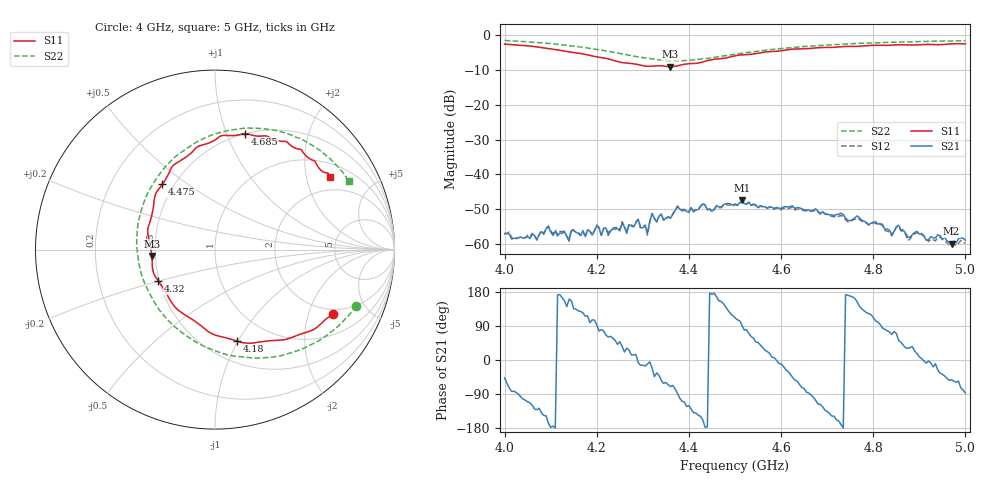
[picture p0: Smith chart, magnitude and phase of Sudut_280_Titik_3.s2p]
# Hz S RI R 50
! CMT, C1220, 16058040, 17.2.0/1
! Date: 15/08/2018 12:41:28
! Data: Format (Calibration Info)
! Freq  S11: Re/Im (F2)  S21: Re/Im (F2)  S12: Re/Im (F2)  S22: Re/Im (F2)
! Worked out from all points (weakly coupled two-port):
!   201 points, 4 GHz to 5 GHz, reference 50 ohm
!   highest |S21| = -47.49 dB at 4.515 GHz (marker M1); lowest = -60.0 dB at 4.97 GHz (marker M2)
!   lowest |S11| = -9.0 dB at 4.36 GHz (marker M3), VSWR 2.10, Z = 23.9 - j1.95 ohm
!   |S11| at or under -10 dB: nowhere
!   |S22| runs from -7.3 to -1.4 dB; largest |S21 - S12| = 0.00023
!   S11 on the Smith chart (normalised r, x): 4 GHz: 1.77, -2.92; 4.18 GHz: 0.70, -0.99; 4.32 GHz: 0.49, -0.20; 4.475 GHz: 0.43, +0.40; 4.685 GHz: 0.50, +1.16; 5 GHz: 1.46, +2.76
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4e9  0.6585 -0.36  0.000942 -0.00102  0.00102 -0.00101  0.7868 -0.3122
4.07e9  0.503 -0.4623  -0.000761 -0.000871  -0.000688 -0.00089  0.6424 -0.4625
4.095e9  0.4224 -0.4915  -0.00171 -0.0004  -0.00175 -0.00046  0.5734 -0.5103
4.14e9  0.2681 -0.5122  -0.00102 0.00036  -0.0011 0.00044  0.4224 -0.5751
4.17e9  0.1565 -0.5189  -0.000868 0.00126  -0.000859 0.00127  0.3068 -0.6001
4.18e9  0.1234 -0.5103  -0.000711 0.00141  -0.000782 0.00139  0.2645 -0.6029
4.255e9  -0.135 -0.3835  0.00159 0.00118  0.00167 0.00123  -0.0609 -0.5385
4.265e9  -0.175 -0.3587  0.00121 0.000729  0.00123 0.000785  -0.1031 -0.5171
4.29e9  -0.2429 -0.2917  0.00222 -0.000259  0.00224 -0.000227  -0.2048 -0.4457
4.31e9  -0.2889 -0.2137  0.0014 -0.000264  0.00129 -0.000309  -0.2758 -0.3771
4.32e9  -0.3152 -0.1765  0.0025 -0.000933  0.00255 -0.00104  -0.3086 -0.3379
4.335e9  -0.3436 -0.1278  0.00189 -0.0016  0.00187 -0.00161  -0.3489 -0.273
4.36e9  -0.352 -0.0357  0.000792 -0.0022  0.000785 -0.00219  -0.4039 -0.1573
4.375e9  -0.363 0.0337  0.00014 -0.00341  0.000114 -0.0035  -0.4228 -0.0828
4.475e9  -0.2937 0.3643  -0.00312 0.00191  -0.003 0.00193  -0.3411 0.3722
4.5e9  -0.249 0.4436  -0.0014 0.00347  -0.0014 0.00336  -0.2817 0.4555
4.515e9  -0.2279 0.4733  -0.000164 0.00422  -0.000125 0.00419  -0.2405 0.4994
4.67e9  0.1405 0.6409  -0.00045 -0.00301  -0.000448 -0.00291  0.2036 0.677
4.685e9  0.1673 0.6466  -0.00124 -0.00242  -0.00125 -0.00235  0.2433 0.6754
4.835e9  0.4482 0.5647  0.000432 0.00151  0.000422 0.00141  0.5485 0.5768
4.97e9  0.6236 0.4272  0.000615 -0.00079  0.000534 -0.00075  0.7176 0.4232
5e9  0.6401 0.4034  5.78e-05 -0.00112  0.00012 -0.000999  0.7457 0.3837
